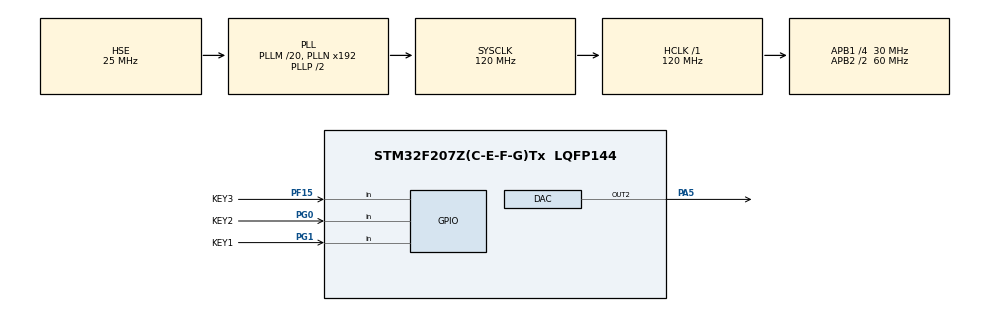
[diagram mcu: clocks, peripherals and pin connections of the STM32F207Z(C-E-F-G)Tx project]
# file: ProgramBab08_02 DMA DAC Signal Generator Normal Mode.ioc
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DAC.DAC_Trigger2=DAC_TRIGGER_T6_TRGO
Dma.DAC2.0.Direction=DMA_MEMORY_TO_PERIPH
Dma.DAC2.0.FIFOMode=DMA_FIFOMODE_DISABLE
Dma.DAC2.0.Instance=DMA1_Stream6
Dma.DAC2.0.MemDataAlignment=DMA_MDATAALIGN_HALFWORD
Dma.DAC2.0.MemInc=DMA_MINC_ENABLE
Dma.DAC2.0.Mode=DMA_NORMAL
Dma.DAC2.0.PeriphDataAlignment=DMA_PDATAALIGN_HALFWORD
Dma.DAC2.0.PeriphInc=DMA_PINC_DISABLE
Dma.DAC2.0.Priority=DMA_PRIORITY_HIGH
Dma.Request0=DAC2
Mcu.Family=STM32F2
Mcu.Name=STM32F207Z(C-E-F-G)Tx
Mcu.Package=LQFP144
NVIC.DMA1_Stream6_IRQn=true\:0\:0\:false\:false\:true\:false\:true
NVIC.PriorityGroup=NVIC_PRIORITYGROUP_4
NVIC.TIM6_DAC_IRQn=true\:0\:0\:false\:false\:true\:true\:true
PA5.Signal=COMP_DAC2_group
PF15.GPIO_Label=KEY3
PF15.Signal=GPIO_Input
PG0.GPIO_Label=KEY2
PG0.Signal=GPIO_Input
PG1.GPIO_Label=KEY1
PG1.Signal=GPIO_Input
PH0-OSC_IN.Mode=HSE-External-Oscillator
PH0-OSC_IN.Signal=RCC_OSC_IN
PH1-OSC_OUT.Mode=HSE-External-Oscillator
PH1-OSC_OUT.Signal=RCC_OSC_OUT
ProjectManager.HeapSize=0x200
ProjectManager.StackSize=0x400
ProjectManager.TargetToolchain=STM32CubeIDE
RCC.48MHZClocksFreq_Value=60000000
RCC.AHBFreq_Value=120000000
RCC.APB1CLKDivider=RCC_HCLK_DIV4
RCC.APB1Freq_Value=30000000
RCC.APB1TimFreq_Value=60000000
RCC.APB2CLKDivider=RCC_HCLK_DIV2
RCC.APB2Freq_Value=60000000
RCC.APB2TimFreq_Value=120000000
RCC.CortexFreq_Value=120000000
RCC.HCLKFreq_Value=120000000
RCC.HSE_VALUE=25000000
RCC.HSI_VALUE=16000000
RCC.LSE_VALUE=32768
RCC.PLLM=20
RCC.PLLSourceVirtual=RCC_PLLSOURCE_HSE
RCC.SYSCLKFreq_VALUE=120000000
RCC.SYSCLKSource=RCC_SYSCLKSOURCE_PLLCLK
RCC.VCOOutputFreq_Value=240000000
SH.COMP_DAC2_group.0=DAC_OUT2,DAC_OUT2
TIM6.Period=0x7FF
TIM6.TIM_MasterOutputTrigger=TIM_TRGO_UPDATE
VP_TIM6_VS_ClockSourceINT.Mode=Enable_Timer
board=custom

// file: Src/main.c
/* USER CODE BEGIN Header */
/**
  ******************************************************************************
  * @file           : main.c
  * @brief          : Main program body
  ******************************************************************************
  * @attention
  *
  * <h2><center>&copy; Copyright (c) 2019 STMicroelectronics.
  * All rights reserved.</center></h2>
  *
  * This software component is licensed by ST under BSD 3-Clause license,
  * the "License"; You may not use this file except in compliance with the
  * License. You may obtain a copy of the License at:
  *                        opensource.org/licenses/BSD-3-Clause
  *
  ******************************************************************************
  */
/* USER CODE END Header */

#include "main.h"
#include "dac.h"
#include "dma.h"
#include "tim.h"
#include "gpio.h"

/* USER CODE BEGIN PV */
uint8_t WaveForm;
uint16_t keypresstimer;
uint16_t Tim_Periodic=0x7FF;

uint16_t Sine_Wave_Data_Table[32] ={
		2047, 2447, 2831, 3185, 3498, 3750, 3939, 4056,
		4095, 4056, 3939, 3750, 3495, 3185, 2831, 2447,
		2047, 1647, 1263, 909, 599, 344, 155, 38,
		0, 38, 155, 344, 599, 909, 1263, 1647
};

uint16_t Sawtooth_Wave_Data_Table[32]={
		0, 132, 264, 396, 528, 660, 792, 924,
		1057, 1189, 1321, 1453, 1585, 1717, 1849, 1981,
		2113, 2245, 2377, 2509, 2641, 2773, 2905, 3037,
		3170, 3302, 3434, 3566, 3698, 3830, 3962, 4095
};

uint16_t Triangle_Wave_Data_Table[32]={
		0, 256, 512, 768, 1024, 1279, 1535, 1791,
		2047, 2303, 2559, 2815, 3071, 3326, 3582, 3838,
		4095, 3838, 3582, 3326, 3071, 2815, 2559, 2303,
		2047, 1791, 1535, 1279, 1024, 768, 512, 256
};

uint16_t Square_Wave_Data_Table[2]={
		0, 4095
};

uint8_t Escalator_Wave_Data_Table[6]={
		0x0, 0x33, 0x66, 0x99, 0xCC, 0xFF
};
/* USER CODE END PV */

void SystemClock_Config(void);
/* USER CODE BEGIN PFP */
void DAC_Signal_Generator(void);
void TIM_Change_Periodic(void);
/* USER CODE END PFP */

int main(void)
{

  /* MCU Configuration--------------------------------------------------------*/

  /* Reset of all peripherals, Initializes the Flash interface and the Systick. */
  HAL_Init();

  /* Configure the system clock */
  SystemClock_Config();

  /* Initialize all configured peripherals */
  MX_GPIO_Init();
  MX_DMA_Init();
  MX_DAC_Init();
  MX_TIM6_Init();
  /* USER CODE BEGIN 2 */
  HAL_TIM_Base_Start(&htim6);
  WaveForm=0;
  DAC_Signal_Generator();

  /* USER CODE END 2 */

  /* Infinite loop */
  while (1)
  {

    /* USER CODE BEGIN 3 */
	  if(!HAL_GPIO_ReadPin(KEY1_GPIO_Port, KEY1_Pin)){
		  keypresstimer=0;
		  while(!HAL_GPIO_ReadPin(KEY1_GPIO_Port, KEY1_Pin)){
			  keypresstimer++;
			  HAL_Delay(1);
		  }
		  if(keypresstimer>10){
			  WaveForm++;
			  if(WaveForm>4)
				  WaveForm=0;
			  }
	  }

	  if(!HAL_GPIO_ReadPin(KEY2_GPIO_Port, KEY2_Pin)){
		  keypresstimer=0;
		  while(!HAL_GPIO_ReadPin(KEY2_GPIO_Port, KEY2_Pin)){
			  keypresstimer++;
			  HAL_Delay(1);
		  }
		  if(keypresstimer>10){
			  Tim_Periodic+=50;
			  TIM_Change_Periodic();
		  }
	  }

	  if(!HAL_GPIO_ReadPin(KEY3_GPIO_Port, KEY3_Pin)){
		  keypresstimer=0;
		  while(!HAL_GPIO_ReadPin(KEY3_GPIO_Port, KEY3_Pin)){
			  keypresstimer++;
			  HAL_Delay(1);
		  }
		  if(keypresstimer>10){
			  Tim_Periodic-=50;
			  TIM_Change_Periodic();
		  }
	  }

  }
  /* USER CODE END 3 */
}

void SystemClock_Config(void)
{
  RCC_OscInitTypeDef RCC_OscInitStruct = {0};
  RCC_ClkInitTypeDef RCC_ClkInitStruct = {0};

  /** Initializes the CPU, AHB and APB busses clocks
  */
  RCC_OscInitStruct.OscillatorType = RCC_OSCILLATORTYPE_HSE;
  RCC_OscInitStruct.HSEState = RCC_HSE_ON;
  RCC_OscInitStruct.PLL.PLLState = RCC_PLL_ON;
  RCC_OscInitStruct.PLL.PLLSource = RCC_PLLSOURCE_HSE;
  RCC_OscInitStruct.PLL.PLLM = 20;
  RCC_OscInitStruct.PLL.PLLN = 192;
  RCC_OscInitStruct.PLL.PLLP = RCC_PLLP_DIV2;
  RCC_OscInitStruct.PLL.PLLQ = 4;
  if (HAL_RCC_OscConfig(&RCC_OscInitStruct) != HAL_OK)
  {
    Error_Handler();
  }
  /** Initializes the CPU, AHB and APB busses clocks
  */
  RCC_ClkInitStruct.ClockType = RCC_CLOCKTYPE_HCLK|RCC_CLOCKTYPE_SYSCLK
                              |RCC_CLOCKTYPE_PCLK1|RCC_CLOCKTYPE_PCLK2;
  RCC_ClkInitStruct.SYSCLKSource = RCC_SYSCLKSOURCE_PLLCLK;
  RCC_ClkInitStruct.AHBCLKDivider = RCC_SYSCLK_DIV1;
  RCC_ClkInitStruct.APB1CLKDivider = RCC_HCLK_DIV4;
  RCC_ClkInitStruct.APB2CLKDivider = RCC_HCLK_DIV2;

  if (HAL_RCC_ClockConfig(&RCC_ClkInitStruct, FLASH_LATENCY_3) != HAL_OK)
  {
    Error_Handler();
  }
}

/* USER CODE BEGIN 4 */
void DAC_Signal_Generator(void){

	switch (WaveForm){
	case 0:
		//Sine Wave
	  if(HAL_DAC_Start_DMA(&hdac, DAC_CHANNEL_2, (uint32_t*)Sine_Wave_Data_Table, 32, DAC_ALIGN_12B_R) != HAL_OK)
		{
		  /* Start DMA Error */
		 Error_Handler();
	    }

		break;
	case 1:
		//Sawtooth
		  if(HAL_DAC_Start_DMA(&hdac, DAC_CHANNEL_2, (uint32_t*)Sawtooth_Wave_Data_Table, 32, DAC_ALIGN_12B_R) != HAL_OK)
			{
			  /* Start DMA Error */
			 Error_Handler();
		    }

		break;
	case 2:
		//Escalator
		  if(HAL_DAC_Start_DMA(&hdac, DAC_CHANNEL_2, (uint32_t*)Escalator_Wave_Data_Table, 6, DAC_ALIGN_8B_R) != HAL_OK)
			{
			  /* Start DMA Error */
			 Error_Handler();
		    }

		break;
	case 3:
		//Trianglewave:
		  if(HAL_DAC_Start_DMA(&hdac, DAC_CHANNEL_2, (uint32_t*)Triangle_Wave_Data_Table, 32, DAC_ALIGN_12B_R) != HAL_OK)
			{
			  /* Start DMA Error */
			 Error_Handler();
		    }

		break;
	case 4:
		//Square wave
		  if(HAL_DAC_Start_DMA(&hdac, DAC_CHANNEL_2, (uint32_t*)Square_Wave_Data_Table, 2, DAC_ALIGN_12B_R) != HAL_OK)
			{
			  /* Start DMA Error */
			 Error_Handler();
		    }

		break;
	}

}

void TIM_Change_Periodic(void){
	  TIM_MasterConfigTypeDef sMasterConfig = {0};

	  HAL_TIM_Base_Stop(&htim6);
	  HAL_TIM_Base_DeInit(&htim6);

	  htim6.Instance = TIM6;
	  htim6.Init.Prescaler = 0;
	  htim6.Init.CounterMode = TIM_COUNTERMODE_UP;
	  htim6.Init.Period = Tim_Periodic;
	  htim6.Init.AutoReloadPreload = TIM_AUTORELOAD_PRELOAD_DISABLE;
	  if (HAL_TIM_Base_Init(&htim6) != HAL_OK)
	  {
	    Error_Handler();
	  }
	  sMasterConfig.MasterOutputTrigger = TIM_TRGO_UPDATE;
	  sMasterConfig.MasterSlaveMode = TIM_MASTERSLAVEMODE_DISABLE;
	  if (HAL_TIMEx_MasterConfigSynchronization(&htim6, &sMasterConfig) != HAL_OK)
	  {
	    Error_Handler();
	  }

	  HAL_TIM_Base_Start(&htim6);
	  DAC_Signal_Generator();

}

void HAL_DACEx_ConvCpltCallbackCh2(DAC_HandleTypeDef *hdac){
	DAC_Signal_Generator();
}
/* USER CODE END 4 */

void Error_Handler(void)
{
}

/************************ (C) COPYRIGHT STMicroelectronics *****END OF FILE****/
